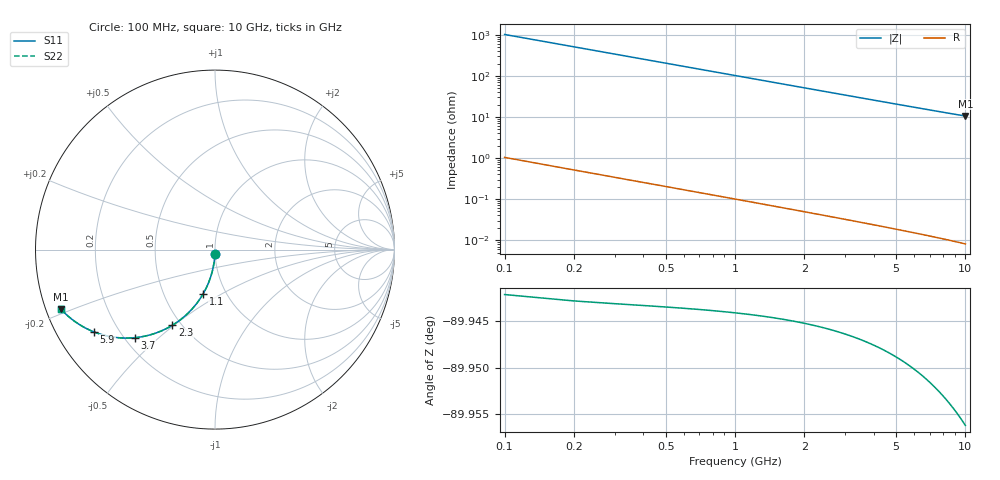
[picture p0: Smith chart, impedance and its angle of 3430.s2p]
# Hz S RI R 50.00
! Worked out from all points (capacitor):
!   100 points, 100 MHz to 10 GHz, reference 50 ohm
!   read as one part in shunt: C = 1.55 pF near 100 MHz
!   lowest |Z| = 10.6 ohm at 10 GHz (marker M1)
!   S11 on the Smith chart (normalised r, x): 100 MHz: 1.00, -0.05; 1.1 GHz: 0.78, -0.41; 2.3 GHz: 0.45, -0.49; 3.7 GHz: 0.24, -0.42; 5.9 GHz: 0.11, -0.30; 10 GHz: 0.04, -0.19
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1e8  -0.000511 -0.0241  0.9993 -0.0244  0.9993 -0.0244  -0.000511 -0.0241
2e8  -0.0023 -0.0481  0.9975 -0.0488  0.9975 -0.0488  -0.0023 -0.0481
3e8  -0.00525 -0.072  0.9945 -0.0729  0.9945 -0.0729  -0.00525 -0.072
4e8  -0.00934 -0.0956  0.9904 -0.0969  0.9904 -0.0969  -0.00934 -0.0956
5e8  -0.0145 -0.1189  0.9852 -0.1204  0.9852 -0.1204  -0.0145 -0.1189
6e8  -0.0208 -0.1417  0.979 -0.1436  0.979 -0.1436  -0.0208 -0.1417
7e8  -0.0281 -0.1641  0.9716 -0.1663  0.9716 -0.1663  -0.0281 -0.1641
9e8  -0.0457 -0.2071  0.9541 -0.21  0.9541 -0.21  -0.0457 -0.2071
1.1e9  -0.0667 -0.2475  0.933 -0.251  0.933 -0.251  -0.0667 -0.2475
1.4e9  -0.1038 -0.3024  0.896 -0.3069  0.896 -0.3069  -0.1038 -0.3024
1.8e9  -0.1607 -0.364  0.8391 -0.3697  0.8391 -0.3697  -0.1607 -0.364
2.3e9  -0.2381 -0.4218  0.7616 -0.4292  0.7616 -0.4292  -0.2381 -0.4218
2.8e9  -0.3166 -0.4602  0.6831 -0.4692  0.6831 -0.4692  -0.3166 -0.4602
3.4e9  -0.4059 -0.4851  0.5938 -0.496  0.5938 -0.496  -0.4059 -0.4851
3.7e9  -0.4473 -0.4908  0.5524 -0.5026  0.5524 -0.5026  -0.4473 -0.4908
4.4e9  -0.5339 -0.4913  0.4658 -0.5054  0.4658 -0.5054  -0.5339 -0.4913
5.1e9  -0.6064 -0.4798  0.3933 -0.4962  0.3933 -0.4962  -0.6064 -0.4798
5.9e9  -0.6737 -0.4588  0.3259 -0.4778  0.3259 -0.4778  -0.6737 -0.4588
6.7e9  -0.7273 -0.4339  0.2722 -0.4555  0.2722 -0.4555  -0.7273 -0.4339
7.5e9  -0.77 -0.408  0.2294 -0.4322  0.2294 -0.4322  -0.77 -0.408
8.4e9  -0.8081 -0.3794  0.1913 -0.4066  0.1913 -0.4066  -0.8081 -0.3794
1e10  -0.8571 -0.3327  0.1421 -0.3653  0.1421 -0.3653  -0.8571 -0.3327
